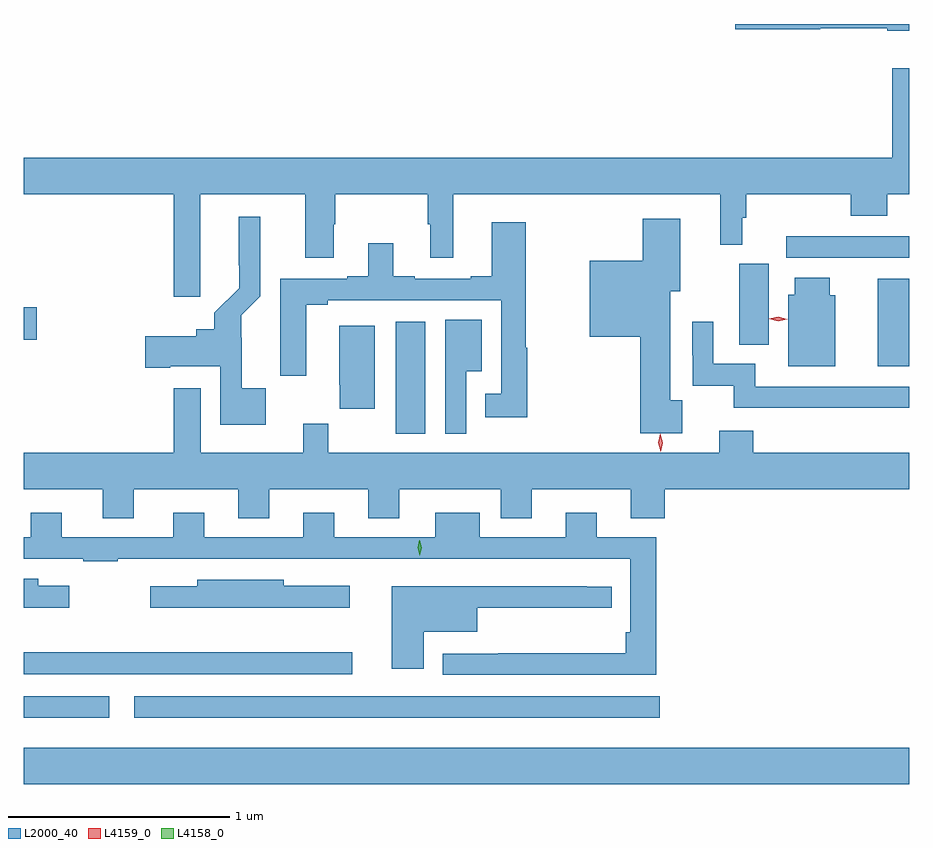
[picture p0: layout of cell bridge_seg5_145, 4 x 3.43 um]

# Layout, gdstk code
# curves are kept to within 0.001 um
import gdstk
lib = gdstk.Library(unit=1e-6, precision=1e-09)
def R(c, l, rs):  # rectangles x0, y0, x1, y1
    for r in rs: c.add(gdstk.rectangle(r[:2], r[2:], *l))
def P(c, l, *ps):  # polygons
    for p in ps: c.add(gdstk.Polygon(p, *l))
L2000_40 = (2000, 40)
L4158_0 = (4158, 0)
L4159_0 = (4159, 0)

bridge_seg5_145 = lib.new_cell('bridge_seg5_145')
R(bridge_seg5_145, L2000_40, [(347.936,844.772,351.936,844.936), (347.936,845.072,348.322,845.169), (348.435,845.072,350.809,845.169), (347.936,845.268,349.42,845.366), (349.616,846.353,349.75,846.859), (351.794,846.659,351.936,847.054), (351.167,846.755,351.301,847.122), (347.936,846.779,347.995,846.926), (351.381,847.149,351.936,847.245)])
P(bridge_seg5_145, L2000_40, [(351.936,848.204),(351.15,848.204),(351.15,848.18),(351.534,848.18),(351.534,848.185),(351.836,848.185),(351.836,848.174),(351.936,848.174)],
  [(348.733,847.436),(349.208,847.436),(349.208,847.149),(349.336,847.149),(349.336,847.3),(349.344,847.3),(349.344,847.436),(349.762,847.436),(349.762,847.3),(349.772,847.3),(349.772,847.149),(349.876,847.149),(349.876,847.436),(351.083,847.436),(351.083,847.207),(351.182,847.207),(351.182,847.328),(351.2,847.328),(351.2,847.436),(351.671,847.436),(351.671,847.337),(351.836,847.337),(351.836,847.436),(351.936,847.436),(351.936,848.005),(351.859,848.005),(351.859,847.6),(347.936,847.6),(347.936,847.436),(348.615,847.436),(348.615,846.972),(348.733,846.972)],
  [(349.03,846.559),(348.922,846.559),(348.922,846.788),(348.918,846.788),(348.918,846.888),(349.005,846.975),(349.005,847.333),(348.908,847.333),(348.909,847.011),(348.798,846.9),(348.798,846.826),(348.716,846.826),(348.716,846.794),(348.486,846.794),(348.486,846.652),(348.598,846.652),(348.598,846.659),(348.825,846.659),(348.825,846.395),(349.03,846.395)],
  [(350.911,846.504),(350.857,846.504),(350.857,846.998),(350.902,846.998),(350.902,847.324),(350.732,847.324),(350.732,847.135),(350.492,847.135),(350.492,846.791),(350.72,846.791),(350.72,846.356),(350.911,846.356)],
  [(350.21,846.741),(350.203,846.741),(350.203,847.06),(350.204,847.06),(350.204,847.309),(350.051,847.309),(350.051,847.066),(349.955,847.066),(349.955,847.053),(349.702,847.053),(349.702,847.066),(349.606,847.066),(349.606,847.213),(349.493,847.213),(349.493,847.066),(349.397,847.066),(349.397,847.053),(349.094,847.053),(349.094,846.615),(349.213,846.615),(349.213,846.937),(349.309,846.937),(349.309,846.957),(350.094,846.957),(350.094,846.534),(350.02,846.534),(350.02,846.429),(350.21,846.429)],
  [(351.601,846.978),(351.577,846.978),(351.577,847.057),(351.419,847.057),(351.419,846.982),(351.389,846.982),(351.389,846.659),(351.601,846.659)],
  [(349.935,846.635),(350.005,846.635),(350.005,846.868),(349.839,846.868),(349.839,846.353),(349.935,846.353)],
  [(351.936,846.567),(351.241,846.567),(351.241,846.67),(351.051,846.67),(351.051,846.859),(350.955,846.859),(350.955,846.708),(350.958,846.708),(350.958,846.57),(351.142,846.57),(351.142,846.47),(351.936,846.47)],
  [(349.522,846.841),(349.361,846.841),(349.361,846.574),(349.363,846.574),(349.363,846.466),(349.522,846.466)],
  [(349.311,846.398),(349.199,846.398),(349.199,846.268),(348.736,846.268),(348.736,846.559),(348.615,846.559),(348.615,846.268),(347.936,846.268),(347.936,846.104),(348.293,846.104),(348.293,845.971),(348.433,845.971),(348.433,846.104),(348.905,846.104),(348.905,845.971),(349.045,845.971),(349.045,846.104),(349.493,846.104),(349.493,845.971),(349.633,845.971),(349.633,846.104),(350.09,846.104),(350.09,845.971),(350.23,845.971),(350.23,846.104),(350.678,846.104),(350.678,845.971),(350.831,845.971),(350.831,846.104),(351.936,846.104),(351.936,846.268),(351.23,846.268),(351.23,846.367),(351.077,846.367),(351.077,846.268),(349.311,846.268)],
  [(350.792,845.886),(350.524,845.886),(350.524,845.998),(350.384,845.998),(350.384,845.886),(349.996,845.886),(349.996,845.998),(349.796,845.998),(349.796,845.886),(349.339,845.886),(349.339,845.998),(349.199,845.998),(349.199,845.886),(348.751,845.886),(348.751,845.998),(348.611,845.998),(348.611,845.886),(348.109,845.886),(348.109,845.998),(347.969,845.998),(347.969,845.886),(347.936,845.886),(347.936,845.79),(348.205,845.79),(348.205,845.778),(348.36,845.778),(348.36,845.79),(350.676,845.79),(350.676,845.458),(350.656,845.458),(350.656,845.363),(350.08,845.363),(350.08,845.361),(349.829,845.361),(349.829,845.265),(350.792,845.265)],
  [(348.142,845.668),(348.001,845.668),(348.001,845.698),(347.936,845.698),(347.936,845.568),(348.142,845.568)],
  [(349.408,845.668),(349.11,845.668),(349.11,845.695),(348.72,845.695),(348.72,845.664),(348.507,845.664),(348.507,845.567),(349.408,845.567)],
  [(349.744,845.459),(349.984,845.459),(349.984,845.567),(350.591,845.567),(350.591,845.663),(350.48,845.663),(350.48,845.664),(349.88,845.664),(349.88,845.665),(349.598,845.665),(349.598,845.292),(349.744,845.292)])
P(bridge_seg5_145, L4158_0, [(349.726,845.802),(349.726,845.803),(349.715,845.838),(349.723,845.873),(349.724,845.873),(349.724,845.873),(349.735,845.838),(349.726,845.803)])
P(bridge_seg5_145, L4159_0, [(351.343,846.862),(351.302,846.872),(351.302,846.872),(351.302,846.872),(351.343,846.881),(351.384,846.871),(351.384,846.871),(351.384,846.871)],
  [(350.813,846.272),(350.813,846.272),(350.803,846.312),(350.812,846.354),(350.812,846.354),(350.812,846.354),(350.823,846.313),(350.814,846.272)])

lib.write_gds('bridge_seg5_145.gds')
